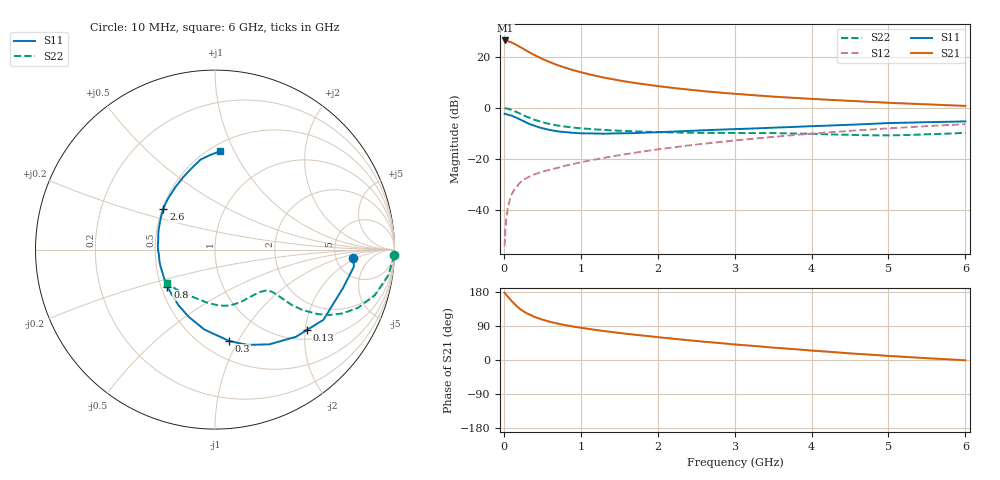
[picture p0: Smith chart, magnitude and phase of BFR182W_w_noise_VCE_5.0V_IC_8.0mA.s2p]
! Infineon Technologies  Discrete & RF Semiconductors
! BFR182W
! VCE =  5.0 V,  IC =  8.0 mA
! Common Emitter S-Parameters:  Jan 2017
# GHz  S  MA  R  50
!  f  S11  S21  S12  S22
! GHz  MAG  ANG  MAG  ANG  MAG  ANG  MAG  ANG
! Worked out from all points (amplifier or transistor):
!   77 points, 10 MHz to 6 GHz, reference 50 ohm
!   highest |S21| = 26.7 dB at 20 MHz (marker M1)
!   |S21| within 3 dB of that: start of sweep to 235.9 MHz
!   unconditionally stable (mu >= 1): 1.185 GHz to 2.704 GHz
!   at 130 MHz: K = 0.23, MSG = 29.0 dB, |S12| = -32.5 dB
!   at 2.2 GHz: K = 1.03, MAG = 10.7 dB, |S12| = -15.5 dB
!   at 6 GHz: K = 0.85, MSG = 3.6 dB, |S12| = -6.3 dB
!   lowest NFmin = 1.00 dB at 450 MHz
!   S11 on the Smith chart (normalised r, x): 10 MHz: 7.31, -1.69; 130 MHz: 1.23, -2.05; 300 MHz: 0.66, -0.92; 800 MHz: 0.54, -0.25; 2.6 GHz: 0.51, +0.27; 6 GHz: 0.56, +0.88
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0.01  0.7704 -3.5  21.49 177.2  0.0019 88.2  0.9973 -1.7
0.02  0.7799 -6.9  21.62 174.8  0.004 94.8  0.9925 -3.5
0.05  0.7447 -16.7  21.04 167.4  0.01 82.7  0.9756 -8.5
0.1  0.7197 -32.9  19.79 155.7  0.0197 76.4  0.9259 -16.0
0.13  0.6806 -41.1  18.74 149.7  0.0238 71.3  0.8851 -19.6
0.15  0.6631 -47.1  18.17 145.3  0.0266 68.8  0.86 -22.2
0.2  0.6088 -60.1  16.46 136.4  0.0326 65.0  0.7924 -26.7
0.25  0.5605 -71.3  14.88 128.9  0.0385 61.6  0.7301 -30.0
0.3  0.5151 -81.2  13.39 123.0  0.0422 59.9  0.6733 -32.2
0.4  0.4493 -97.6  11.11 113.5  0.0496 57.9  0.5888 -34.7
0.5  0.4028 -111.2  9.341 106.5  0.0558 57.9  0.5279 -35.8
0.6  0.3712 -123.0  8.052 100.8  0.0614 57.9  0.4854 -36.0
0.7  0.3482 -133.1  7.038 96.1  0.0665 59.0  0.4552 -36.0
0.8  0.3371 -142.0  6.264 91.9  0.0734 59.9  0.4324 -36.0
1.1  0.3177 -163.3  4.688 82.1  0.0919 61.8  0.3902 -36.7
1.5  0.3193 176.5  3.524 71.5  0.1181 63.3  0.3587 -39.7
2.1  0.3399 155.1  2.613 58.3  0.1609 63.0  0.3347 -48.4
2.6  0.3665 141.7  2.164 48.3  0.1987 61.4  0.3257 -58.2
3.1  0.3905 130.3  1.871 39.5  0.2383 58.5  0.3233 -68.0
4.1  0.4467 112.0  1.497 23.5  0.3225 51.4  0.3086 -88.6
5.1  0.5118 97.7  1.258 9.6  0.4082 42.4  0.2922 -118.4
6  0.5482 87.0  1.107 -0.8  0.4829 33.4  0.3262 -145.0
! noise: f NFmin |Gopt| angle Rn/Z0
0.45  1  0.12  39  0.15
0.9  1.08  0.12  69  0.15
1.9  1.59  0.18  -174  0.13
2.4  1.85  0.18  -169  0.19
